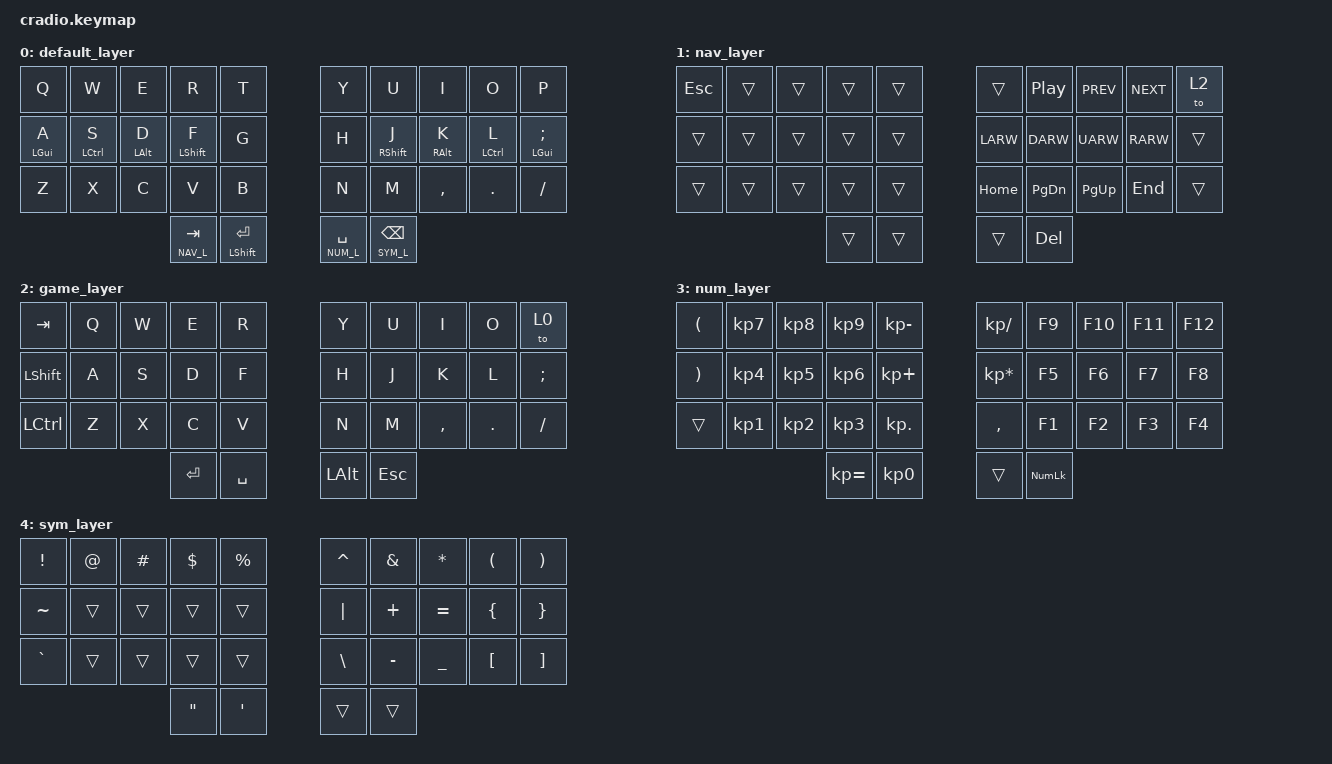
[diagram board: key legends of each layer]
// Copyright (c) 2022 The ZMK Contributors
// SPDX-License-Identifier: MIT

#include <behaviors.dtsi>
#include <dt-bindings/zmk/keys.h>
#include <dt-bindings/zmk/bt.h>

#define NAV_L 1
#define GAME_L 2
#define NUM_L 3
#define SYM_L 4

// Quick tap for repeating characters on hold-tap keys
&lt { quick_tap_ms = <200>; };

/ {
    behaviors {
        hm: homerow_mods {
            compatible = "zmk,behavior-hold-tap";
            label = "homerow mods";
            #binding-cells = <2>;
            tapping_term_ms = <200>;
            quick_tap_ms = <200>;
            flavor = "tap-preferred";
            bindings = <&kp>, <&kp>;
        };
    };

    keymap {
        compatible = "zmk,keymap";

        default_layer {
            bindings = <
                &kp Q      &kp W       &kp E       &kp R          &kp T         &kp Y            &kp U          &kp I       &kp O       &kp P
                &hm LGUI A &hm LCTRL S &hm LALT D  &hm LSHFT F    &kp G         &kp H            &hm RSHFT J    &hm RALT K  &hm LCTRL L &hm LGUI SEMI
                &kp Z      &kp X       &kp C       &kp V          &kp B         &kp N            &kp M          &kp COMMA   &kp DOT     &kp FSLH
                                                   &lt NAV_L TAB  &mt LSHFT RET &lt NUM_L SPACE  &lt SYM_L BKSP
            >;
        };

        nav_layer {
            bindings = <
                &kp ESC    &trans     &trans      &trans          &trans       &trans           &kp C_PP       &kp C_PREV  &kp C_NEXT &to 2
                &trans     &trans     &trans      &trans          &trans       &kp LARW         &kp DARW       &kp UARW    &kp RARW   &trans
                &trans     &trans     &trans      &trans          &trans       &kp HOME         &kp PG_DN      &kp PG_UP   &kp END    &trans
                                                  &trans          &trans       &trans           &kp DEL
            >;
        };

        game_layer {
            bindings = <
                &kp TAB      &kp Q      &kp W       &kp E         &kp R        &kp Y            &kp U          &kp I       &kp O       &to 0
                &kp LSHFT    &kp A      &kp S       &kp D         &kp F        &kp H            &kp J          &kp K       &kp L       &kp SEMI
                &kp LCTRL    &kp Z      &kp X       &kp C         &kp V        &kp N            &kp M          &kp COMMA   &kp DOT     &kp FSLH
                                                    &kp RET       &kp SPACE    &kp LALT         &kp ESC
            >;
        };

        num_layer {
            bindings = <
                &kp LPAR     &kp KP_N7   &kp KP_N8   &kp KP_N9    &kp KP_MINUS &kp KP_SLASH    &kp F9         &kp F10     &kp F11     &kp F12
                &kp RPAR     &kp KP_N4   &kp KP_N5   &kp KP_N6    &kp KP_PLUS  &kp KP_ASTERISK &kp F5         &kp F6      &kp F7      &kp F8
                &trans       &kp KP_N1   &kp KP_N2   &kp KP_N3    &kp KP_DOT   &kp COMMA       &kp F1         &kp F2      &kp F3      &kp F4
                                                     &kp KP_EQUAL &kp KP_N0    &trans          &kp KP_NLCK
            >;
        };

        sym_layer {
            bindings = <
                &kp EXCL      &kp AT      &kp HASH    &kp DLLR   &kp PRCNT      &kp CARET      &kp AMPS       &kp STAR    &kp LPAR   &kp RPAR
                &kp TILDE     &trans      &trans      &trans     &trans         &kp PIPE       &kp PLUS       &kp EQUAL   &kp LBRC   &kp RBRC
                &kp GRAVE     &trans      &trans      &trans     &trans         &kp BSLH       &kp MINUS      &kp UNDER   &kp LBKT   &kp RBKT
                                                      &kp DQT    &kp APOS       &trans         &trans
            >;
        };
    };
};
